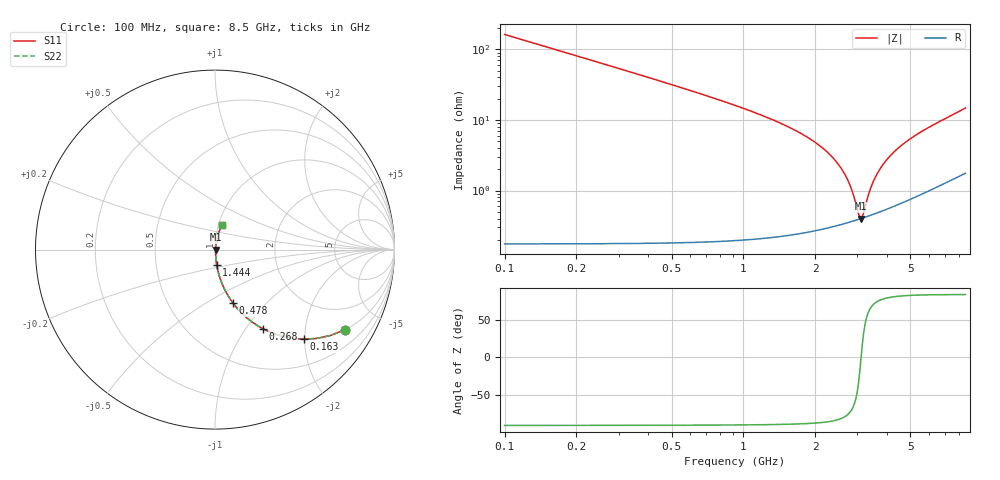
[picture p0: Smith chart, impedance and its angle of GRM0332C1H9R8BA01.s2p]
!Murata Part Number: GRM0332C1H9R8BA01
!These Parameters are Measured in Series Mode Connection
!Data Generated on Mar 30, 2021
!  o--ll--o
!Port1  Port2
!  o------o
!Operation Temp=25[degC], DC Bias Voltage=0[V]
!Freq. Start=100[MHz] Stop=9[GHz] 401[Steps]
# Hz S RI R 50
!Freq.(Hz) S11(Real) S11(Imag) S21(Real) S21(Imag) S12(Real) S12(Imag) S22(Real) S22(Imag)
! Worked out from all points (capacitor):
!   401 points, 100 MHz to 8.5 GHz, reference 50 ohm
!   read as one part in series: C = 9.8 pF near 142 MHz
!   lowest |Z| = 401 mohm at 3.103 GHz (marker M1)
!   series resonance near 3.109 GHz, so ESL is about 270 pH
!   S11 on the Smith chart (normalised r, x): 100 MHz: 1.00, -3.24; 163 MHz: 1.00, -1.99; 268 MHz: 1.00, -1.20; 478 MHz: 1.00, -0.66; 1.444 GHz: 1.00, -0.18; 8.5 GHz: 1.04, +0.29
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1e8  0.7245 -0.4462  0.2755 0.4462  0.2755 0.4462  0.7245 -0.4462
1.63e8  0.4968 -0.4991  0.5032 0.4991  0.5032 0.4991  0.4968 -0.4991
2.68e8  0.2663 -0.4406  0.7337 0.4406  0.7337 0.4406  0.2663 -0.4406
4.78e8  0.1005 -0.2979  0.8995 0.2979  0.8995 0.2979  0.1005 -0.2979
8.56e8  0.0316 -0.1696  0.9684 0.1696  0.9684 0.1696  0.0316 -0.1696
1.444e9  0.00995 -0.0874  0.99 0.0874  0.99 0.0874  0.00995 -0.0874
1.507e9  0.00903 -0.0818  0.991 0.0818  0.991 0.0818  0.00903 -0.0818
2.074e9  0.00465 -0.0434  0.9954 0.0434  0.9954 0.0434  0.00465 -0.0434
2.431e9  0.00381 -0.026  0.9962 0.026  0.9962 0.026  0.00381 -0.026
2.704e9  0.00367 -0.0147  0.9963 0.0147  0.9963 0.0147  0.00367 -0.0147
2.914e9  0.00377 -0.00681  0.9962 0.00681  0.9962 0.00681  0.00377 -0.00681
3.04e9  0.0039 -0.00237  0.9961 0.00237  0.9961 0.00237  0.0039 -0.00237
3.103e9  0.00398 -0.000213  0.996 0.000213  0.996 0.000213  0.00398 -0.000213
3.166e9  0.00408 0.0019  0.9959 -0.0019  0.9959 -0.0019  0.00408 0.0019
3.397e9  0.00451 0.00933  0.9955 -0.00933  0.9955 -0.00933  0.00451 0.00933
3.586e9  0.00495 0.0151  0.995 -0.0151  0.995 -0.0151  0.00495 0.0151
3.901e9  0.00585 0.0242  0.9942 -0.0242  0.9942 -0.0242  0.00585 0.0242
4.3e9  0.00723 0.035  0.9928 -0.035  0.9928 -0.035  0.00723 0.035
4.909e9  0.00981 0.0505  0.9902 -0.0505  0.9902 -0.0505  0.00981 0.0505
5.707e9  0.014 0.0696  0.986 -0.0696  0.986 -0.0696  0.014 0.0696
7.114e9  0.0237 0.1028  0.9763 -0.1028  0.9763 -0.1028  0.0237 0.1028
8.5e9  0.0371 0.1381  0.9629 -0.1381  0.9629 -0.1381  0.0371 0.1381
